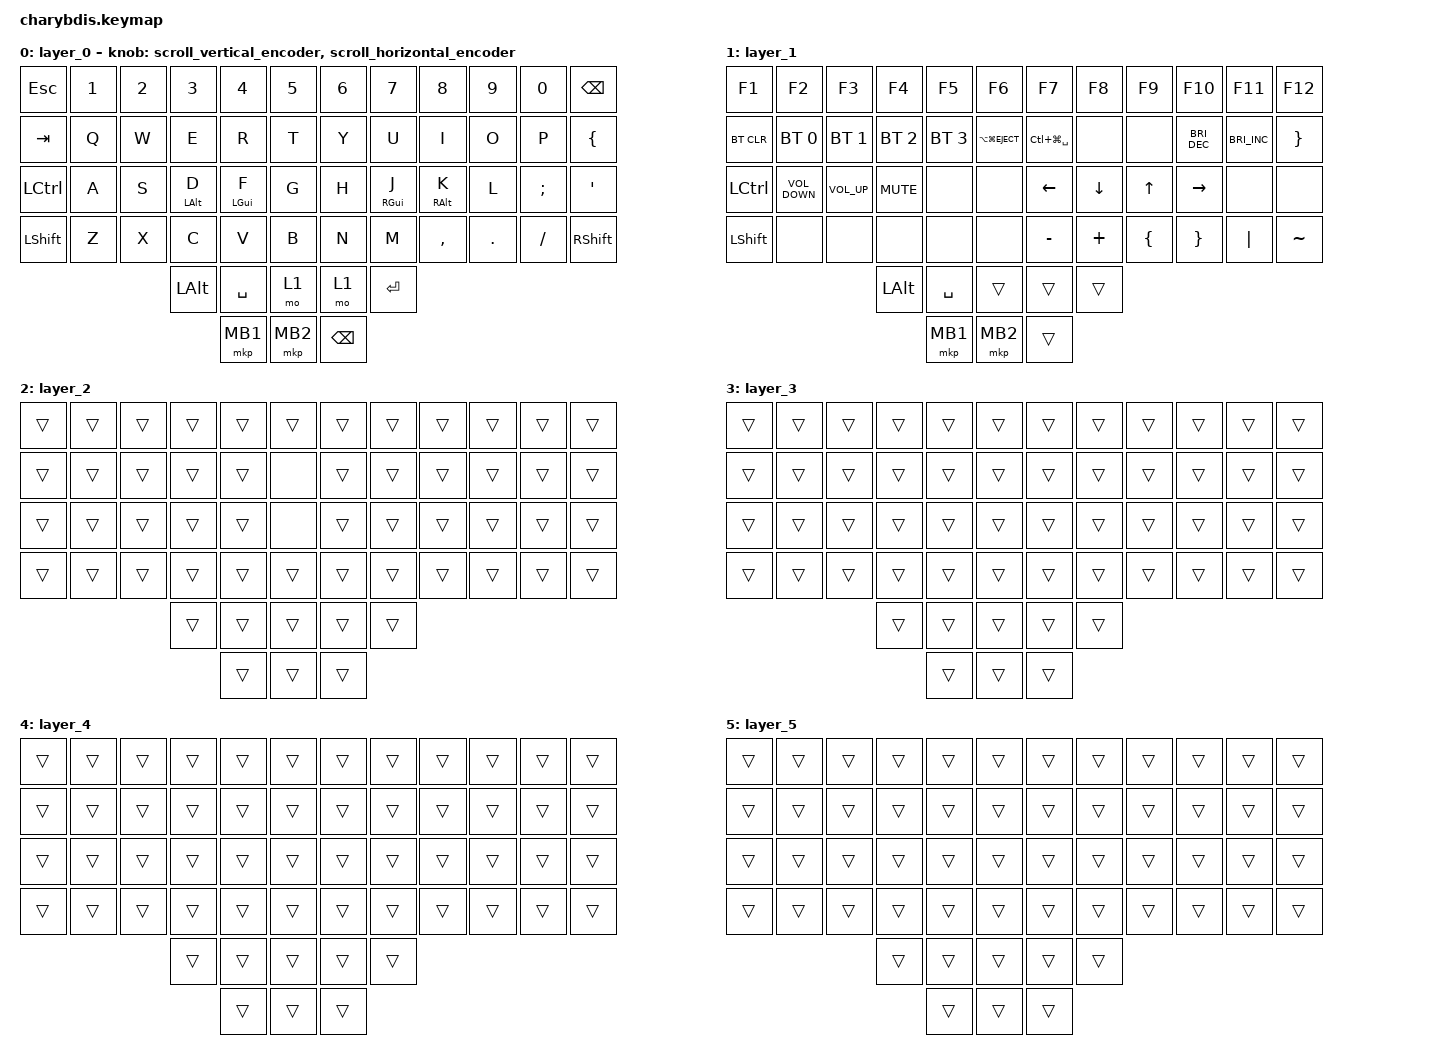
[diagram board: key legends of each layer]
#include <dt-bindings/zmk/mouse.h>
#include <input/processors.dtsi>
#include <zephyr/dt-bindings/input/input-event-codes.h>
#include <behaviors.dtsi>
#include <dt-bindings/zmk/bt.h>
#include <dt-bindings/zmk/keys.h>
#include <dt-bindings/zmk/pointing.h>
#include <dt-bindings/zmk/rgb.h>

#define ZMK_POINTING_DEFAULT_MOVE_VAL 1000 // 600
#define ZMK_POINTING_DEFAULT_SCRL_VAL 12   // 10

&lt {
    tapping-term-ms = <200>;
    flavor = "balanced";
    quick-tap-ms = <150>;
};

&mmv_input_listener { input-processors = <&zip_xy_scaler 2 1>; };

&msc_input_listener { input-processors = <&zip_scroll_scaler 2 1>; };

&msc {
    acceleration-exponent = <0>;      // 0
    time-to-max-speed-ms = <100>;     // 300
    delay-ms = <0>;                   // 0
};

&mmv {
    time-to-max-speed-ms = <500>;
    acceleration-exponent = <1>;
    trigger-period-ms = <16>;
};

/ {
    // 上下滚动编码器行为

    scroll_vertical_encoder: scroll_vertical_encoder {
        compatible = "zmk,behavior-sensor-rotate";
        #sensor-binding-cells = <0>;
        bindings = <&msc SCRL_DOWN>, <&msc SCRL_UP>;

        tap-ms = <100>;
    };

    // 左右滚动编码器行为

    scroll_horizontal_encoder: scroll_horizontal_encoder {
        compatible = "zmk,behavior-sensor-rotate";
        #sensor-binding-cells = <0>;
        bindings = <&msc SCRL_LEFT>, <&msc SCRL_RIGHT>;

        tap-ms = <100>;
    };

    behaviors {
        pht: positional_hold_tap {
            compatible = "zmk,behavior-hold-tap";
            #binding-cells = <2>;
            flavor = "tap-preferred";
            tapping-term-ms = <400>;
            quick-tap-ms = <200>;
            require-prior-idle-ms = <125>;
            bindings = <&kp>, <&kp>;
        };
    };

    keymap {
        compatible = "zmk,keymap";

        layer_0 {
            bindings = <
&kp ESC         &kp N1  &kp N2  &kp N3        &kp N4       &kp N5       &kp N6     &kp N7       &kp N8       &kp N9   &kp N0    &kp BACKSPACE
&kp TAB         &kp Q   &kp W   &kp E         &kp R        &kp T        &kp Y      &kp U        &kp I        &kp O    &kp P     &kp LBRC
&kp LCTRL       &kp A   &kp S   &pht LALT D   &pht LGUI F  &kp G        &kp H      &pht RGUI J  &pht RALT K  &kp L    &kp SEMI  &kp APOS
&kp LSHIFT      &kp Z   &kp X   &kp C         &kp V        &kp B        &kp N      &kp M        &kp COMMA    &kp DOT  &kp FSLH  &kp RSHIFT
                                &kp LEFT_ALT  &kp SPACE    &mo 1        &mo 1      &kp ENTER
                                              &mkp MB1     &mkp MB2     &kp BACKSPACE
            >;

            sensor-bindings =
                <&scroll_vertical_encoder>,
                // 编码器1：上下滚动,,
                <&scroll_horizontal_encoder>;

            // 编码器2：左右滚动
        };

        layer_1 {
            bindings = <
&kp F1      &kp F2             &kp F3           &kp F4        &kp F5        &kp F6                &kp F7             &kp F8     &kp F9     &kp F10               &kp F11               &kp F12
&bt BT_CLR  &bt BT_SEL 0       &bt BT_SEL 1     &bt BT_SEL 2  &bt BT_SEL 3  &kp LA(LG(C_EJECT))   &kp LC(LG(SPACE))  &none      &none      &kp C_BRIGHTNESS_DEC  &kp C_BRIGHTNESS_INC  &kp RBRC
&kp LCTRL   &kp C_VOLUME_DOWN  &kp C_VOLUME_UP  &kp C_MUTE    &none         &none                 &kp LEFT           &kp DOWN   &kp UP     &kp RIGHT             &none                 &none
&kp LSHIFT  &none              &none            &none         &none         &none                 &kp MINUS          &kp PLUS   &kp LBRC   &kp RBRC              &kp PIPE              &kp TILDE
                                                &kp LEFT_ALT  &kp SPACE     &trans                &trans             &trans
                                                              &mkp MB1      &mkp MB2              &trans
            >;
        };

        layer_2 {
            bindings = <
&trans  &trans  &trans  &trans  &trans  &trans    &trans  &trans  &trans  &trans  &trans  &trans
&trans  &trans  &trans  &trans  &trans  &none     &trans  &trans  &trans  &trans  &trans  &trans
&trans  &trans  &trans  &trans  &trans  &none     &trans  &trans  &trans  &trans  &trans  &trans
&trans  &trans  &trans  &trans  &trans  &trans    &trans  &trans  &trans  &trans  &trans  &trans
                        &trans  &trans  &trans    &trans  &trans
                                &trans  &trans    &trans
            >;
        };

        layer_3 {
            bindings = <
&trans  &trans  &trans  &trans  &trans  &trans    &trans  &trans  &trans  &trans  &trans  &trans
&trans  &trans  &trans  &trans  &trans  &trans    &trans  &trans  &trans  &trans  &trans  &trans
&trans  &trans  &trans  &trans  &trans  &trans    &trans  &trans  &trans  &trans  &trans  &trans
&trans  &trans  &trans  &trans  &trans  &trans    &trans  &trans  &trans  &trans  &trans  &trans
                        &trans  &trans  &trans    &trans  &trans
                                &trans  &trans    &trans
            >;
        };

        layer_4 {
            bindings = <
&trans  &trans  &trans  &trans  &trans  &trans    &trans  &trans  &trans  &trans  &trans  &trans
&trans  &trans  &trans  &trans  &trans  &trans    &trans  &trans  &trans  &trans  &trans  &trans
&trans  &trans  &trans  &trans  &trans  &trans    &trans  &trans  &trans  &trans  &trans  &trans
&trans  &trans  &trans  &trans  &trans  &trans    &trans  &trans  &trans  &trans  &trans  &trans
                        &trans  &trans  &trans    &trans  &trans
                                &trans  &trans    &trans
            >;
        };

        layer_5 {
            bindings = <
&trans  &trans  &trans  &trans  &trans  &trans    &trans  &trans  &trans  &trans  &trans  &trans
&trans  &trans  &trans  &trans  &trans  &trans    &trans  &trans  &trans  &trans  &trans  &trans
&trans  &trans  &trans  &trans  &trans  &trans    &trans  &trans  &trans  &trans  &trans  &trans
&trans  &trans  &trans  &trans  &trans  &trans    &trans  &trans  &trans  &trans  &trans  &trans
                        &trans  &trans  &trans    &trans  &trans
                                &trans  &trans    &trans
            >;
        };

        /* layer_2 {
            bindings = <
&none  &none   &none    &none   &none         &none         &kp N1         &none         &none     &none  &none   &to 0
&none  &none   &none    &none   &none         &none         &none         &none          &rgb_ug RGB_BRD &rgb_ug RGB_BRI  &rgb_ug RGB_EFF   &rgb_ug RGB_TOG
&none  &none   &none    &none   &none         &none         &none         &mkp LCLK     &mkp RCLK  &none  &none   &none
&none  &none   &none    &none   &bt BT_NXT  &bt BT_CLR    &none         &none         &none     &none  &none   &none
                                   &none         &none         &none         &none         &none
                                                 &none         &none         &none
            >;


        };

       Mouse {
            bindings = <
&none        &none         &none         &none         &none      &none         &none       &none      &none         &none         &none         &none
&none        &bt BT_SEL 0  &bt BT_SEL 1  &bt BT_SEL 3  &none      &bt BT_CLR    &bt BT_CLR  &none      &bt BT_SEL 2  &bt BT_SEL 1  &bt BT_SEL 0  &none
&none        &trans        &trans        &mkp MCLK     &trans     &none         &none       &trans     &mkp MCLK     &trans        &trans        &none
&bootloader  &trans        &mkp RCLK     &mo 4         &mkp LCLK  &mo 5         &mo 5       &mkp LCLK  &mo 4         &mkp RCLK     &trans        &bootloader
                                         &mo 5         &mkp LCLK  &mkp RCLK     &mkp RCLK   &mkp LCLK
                                                       &none      &trans        &trans
            >;


        };

        layer_4 {
            bindings = <
&trans  &trans  &trans     &trans     &trans     &trans       &trans     &trans     &trans     &trans     &trans  &trans
&trans  &trans  &trans     &trans     &trans     &trans       &trans     &trans     &trans     &trans     &trans  &trans
&trans  &trans  &trans     &mkp MCLK  &trans     &trans       &trans     &trans     &mkp MCLK  &trans     &trans  &trans
&trans  &trans  &mkp RCLK  &trans     &mkp LCLK  &trans       &trans     &mkp LCLK  &trans     &mkp RCLK  &trans  &trans
                           &trans     &mkp LCLK  &mkp RCLK    &mkp RCLK  &mkp LCLK
                                      &trans     &trans       &trans
            >;



        };

        layer_5 {
            bindings = <
&trans  &trans  &trans     &trans     &trans     &trans       &trans     &trans     &trans     &trans     &trans  &trans
&trans  &trans  &trans     &trans     &trans     &trans       &trans     &trans     &trans     &trans     &trans  &trans
&trans  &trans  &trans     &mkp MCLK  &trans     &trans       &trans     &trans     &mkp MCLK  &trans     &trans  &trans
&trans  &trans  &mkp RCLK  &trans     &mkp LCLK  &trans       &trans     &mkp LCLK  &trans     &mkp RCLK  &trans  &trans
                           &trans     &mkp LCLK  &mkp RCLK    &mkp RCLK  &mkp LCLK
                                      &trans     &trans       &trans
            >;


        };*/
    };
};
